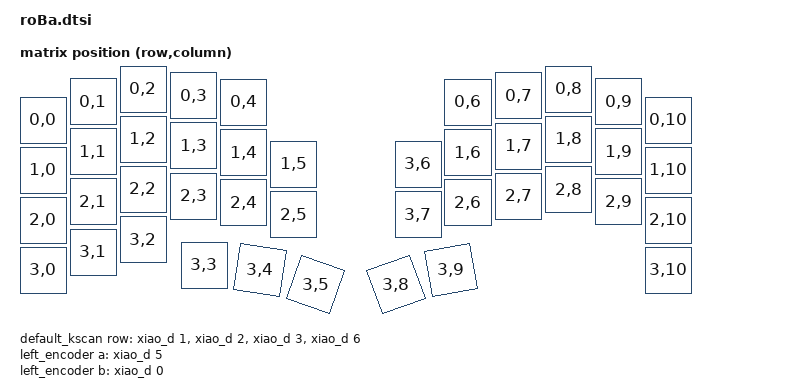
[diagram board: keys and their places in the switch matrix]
#include <dt-bindings/zmk/matrix_transform.h>
#include <physical_layouts.dtsi>

/ {
    chosen {
        zmk,physical-layout = &roba_physical_layout;
    };

   roba_physical_layout: roba_physical_layout {
        compatible = "zmk,physical-layout";
        display-name = "Default";
        transform = <&default_transform>;
        kscan = <&kscan0>;

    physical_layout0: physical_layout_0 {
        compatible = "zmk,physical-layout";
        display-name = "default_layout";

        keys  //                     w   h    x    y     rot    rx    ry
            = <&key_physical_attrs 100 100    0   62       0     0     0>
            , <&key_physical_attrs 100 100  100   25       0     0     0>
            , <&key_physical_attrs 100 100  200    0       0     0     0>
            , <&key_physical_attrs 100 100  301   13       0     0     0>
            , <&key_physical_attrs 100 100  401   26       0     0     0>
            , <&key_physical_attrs 100 100  850   26       0     0     0>
            , <&key_physical_attrs 100 100  951   13       0     0     0>
            , <&key_physical_attrs 100 100 1051    0       0     0     0>
            , <&key_physical_attrs 100 100 1151   25       0     0     0>
            , <&key_physical_attrs 100 100 1251   62       0     0     0>
            , <&key_physical_attrs 100 100    0  162       0     0     0>
            , <&key_physical_attrs 100 100  100  125       0     0     0>
            , <&key_physical_attrs 100 100  200  100       0     0     0>
            , <&key_physical_attrs 100 100  301  113       0     0     0>
            , <&key_physical_attrs 100 100  401  127       0     0     0>
            , <&key_physical_attrs 100 100  501  150       0     0     0>
            , <&key_physical_attrs 100 100  750  150       0     0     0>
            , <&key_physical_attrs 100 100  850  127       0     0     0>
            , <&key_physical_attrs 100 100  951  114       0     0     0>
            , <&key_physical_attrs 100 100 1051  100       0     0     0>
            , <&key_physical_attrs 100 100 1151  125       0     0     0>
            , <&key_physical_attrs 100 100 1251  162       0     0     0>
            , <&key_physical_attrs 100 100    0  262       0     0     0>
            , <&key_physical_attrs 100 100  100  225       0     0     0>
            , <&key_physical_attrs 100 100  200  200       0     0     0>
            , <&key_physical_attrs 100 100  301  214       0     0     0>
            , <&key_physical_attrs 100 100  401  227       0     0     0>
            , <&key_physical_attrs 100 100  501  251       0     0     0>
            , <&key_physical_attrs 100 100  750  251       0     0     0>
            , <&key_physical_attrs 100 100  850  227       0     0     0>
            , <&key_physical_attrs 100 100  951  214       0     0     0>
            , <&key_physical_attrs 100 100 1051  201       0     0     0>
            , <&key_physical_attrs 100 100 1151  225       0     0     0>
            , <&key_physical_attrs 100 100 1251  262       0     0     0>
            , <&key_physical_attrs 100 100    0  362       0     0     0>
            , <&key_physical_attrs 100 100  100  326       0     0     0>
            , <&key_physical_attrs 100 100  200  301       0     0     0>
            , <&key_physical_attrs 100 100  322  352       0     0     0>
            , <&key_physical_attrs 100 100  434  362     900   484   412>
            , <&key_physical_attrs 100 100  545  391    2000   595   441>
            , <&key_physical_attrs 100 100  706  391 (-2000)   756   441>
            , <&key_physical_attrs 100 100  816  362 (-1000)   866   412>
            , <&key_physical_attrs 100 100 1251  362       0     0     0>
            ;
    };
};
      
   default_kscan: kscan_0 {
        compatible = "zmk,kscan-gpio-matrix";
        label = "KSCAN";
        diode-direction = "col2row";
            row-gpios
                = <&xiao_d 1 (GPIO_ACTIVE_HIGH | GPIO_PULL_DOWN)> 
                , <&xiao_d 2 (GPIO_ACTIVE_HIGH | GPIO_PULL_DOWN)> 
                , <&xiao_d 3 (GPIO_ACTIVE_HIGH | GPIO_PULL_DOWN)> 
                , <&xiao_d 6 (GPIO_ACTIVE_HIGH | GPIO_PULL_DOWN)> 			
                ;
    };

 default_transform: keymap_transform_0 {
        compatible = "zmk,matrix-transform";
        columns = <11>;
        rows = <4>;               
        map = <
            RC(0,0) RC(0,1) RC(0,2) RC(0,3) RC(0,4)                     RC(0,6) RC(0,7) RC(0,8) RC(0,9) RC(0,10)
            RC(1,0) RC(1,1) RC(1,2) RC(1,3) RC(1,4) RC(1,5)     RC(3,6) RC(1,6) RC(1,7) RC(1,8) RC(1,9) RC(1,10)
            RC(2,0) RC(2,1) RC(2,2) RC(2,3) RC(2,4) RC(2,5)     RC(3,7) RC(2,6) RC(2,7) RC(2,8) RC(2,9) RC(2,10)
            RC(3,0) RC(3,1) RC(3,2) RC(3,3) RC(3,4) RC(3,5)     RC(3,8) RC(3,9)                         RC(3,10)         
        >;
    };

    left_encoder: encoder_left {
        compatible = "alps,ec11";
        a-gpios = <&xiao_d 5 (GPIO_ACTIVE_HIGH | GPIO_PULL_UP)>;
        b-gpios = <&xiao_d 0 (GPIO_ACTIVE_HIGH | GPIO_PULL_UP)>;
        steps = <12>;
        status = "disabled";
    };

    right_encoder: encoder_right {
        status = "disabled";
    };

    sensors: sensors {
        compatible = "zmk,keymap-sensors";
        sensors = <&left_encoder &right_encoder>;
        triggers-per-rotation = <10>;
    };
};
